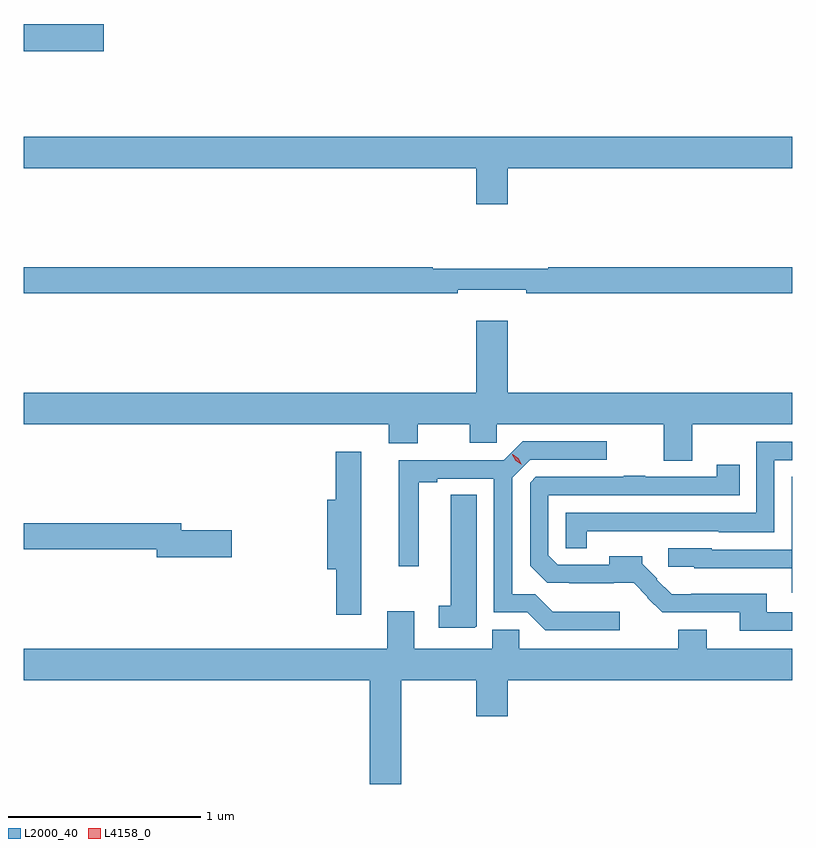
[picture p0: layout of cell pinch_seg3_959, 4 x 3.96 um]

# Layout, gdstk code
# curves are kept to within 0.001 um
import gdstk
lib = gdstk.Library(unit=1e-6, precision=1e-09)
def R(c, l, rs):  # rectangles x0, y0, x1, y1
    for r in rs: c.add(gdstk.rectangle(r[:2], r[2:], *l))
def P(c, l, *ps):  # polygons
    for p in ps: c.add(gdstk.Polygon(p, *l))
L2000_40 = (2000, 40)
L4158_0 = (4158, 0)

pinch_seg3_959 = lib.new_cell('pinch_seg3_959')
R(pinch_seg3_959, L2000_40, [(474.341,718.84,474.757,718.982)])
P(pinch_seg3_959, L2000_40, [(476.86,718.232),(478.341,718.232),(478.341,718.396),(474.341,718.396),(474.341,718.232),(476.696,718.232),(476.696,718.044),(476.86,718.044)],
  [(476.6,717.599),(476.956,717.599),(476.956,717.58),(478.341,717.58),(478.341,717.716),(477.071,717.716),(477.071,717.709),(476.471,717.709),(476.471,717.716),(474.341,717.716),(474.341,717.58),(476.6,717.58)],
  [(477.819,716.9),(478.341,716.9),(478.341,717.064),(476.86,717.064),(476.86,717.439),(476.696,717.439),(476.696,717.064),(474.341,717.064),(474.341,716.9),(476.24,716.9),(476.24,716.801),(476.392,716.801),(476.392,716.9),(476.663,716.9),(476.663,716.802),(476.802,716.802),(476.802,716.9),(477.671,716.9),(477.671,716.71),(477.819,716.71)],
  [(477.442,715.924),(477.095,715.924),(477.004,716.015),(476.883,716.015),(476.883,716.622),(476.976,716.715),(477.376,716.715),(477.376,716.811),(476.939,716.811),(476.84,716.712),(476.294,716.712),(476.294,716.16),(476.398,716.16),(476.398,716.596),(476.494,716.596),(476.494,716.616),(476.787,716.616),(476.787,715.92),(476.961,715.92),(477.054,715.827),(477.442,715.827)],
  [(477.271,716.342),(477.525,716.342),(477.525,716.343),(477.957,716.343),(477.957,716.336),(478.248,716.336),(478.248,716.712),(478.341,716.712),(478.341,716.808),(478.152,716.808),(478.152,716.439),(477.162,716.439),(477.162,716.254),(477.271,716.254)],
  [(476.098,716.755),(475.964,716.755),(475.964,716.506),(475.922,716.506),(475.922,716.144),(475.967,716.144),(475.967,715.908),(476.098,715.908)],
  [(478.341,715.92),(478.207,715.92),(478.207,716.017),(477.814,716.017),(477.814,716.015),(477.713,716.015),(477.636,716.091),(477.639,716.094),(477.56,716.173),(477.56,716.212),(477.389,716.212),(477.389,716.169),(477.12,716.169),(477.072,716.217),(477.072,716.529),(478.067,716.529),(478.067,716.689),(477.949,716.689),(477.949,716.625),(477.575,716.625),(477.575,716.63),(477.463,716.63),(477.463,716.625),(477.006,716.625),(476.976,716.595),(476.976,716.163),(477.065,716.074),(477.181,716.074),(477.181,716.072),(477.515,716.073),(477.589,715.999),(477.587,715.997),(477.663,715.92),(478.067,715.92),(478.067,715.824),(478.341,715.824)],
  [(478.341,716.627),(478.338,716.627),(478.338,716.247),(477.921,716.247),(477.921,716.253),(477.696,716.253),(477.696,716.157),(477.831,716.157),(477.831,716.15),(478.337,716.15),(478.337,716.021),(478.341,716.021)],
  [(476.698,715.849),(476.698,716.531),(476.564,716.531),(476.564,715.955),(476.502,715.955),(476.502,715.839),(476.688,715.839)],
  [(475.423,716.348),(475.162,716.348),(475.162,716.384),(474.341,716.384),(474.341,716.248),(475.034,716.248),(475.034,716.206),(475.423,716.206)],
  [(476.305,715.568),(476.696,715.568),(476.696,715.38),(476.86,715.38),(476.86,715.568),(478.341,715.568),(478.341,715.732),(477.895,715.732),(477.895,715.831),(477.748,715.831),(477.748,715.732),(476.919,715.732),(476.919,715.83),(476.78,715.83),(476.78,715.732),(476.374,715.732),(476.374,715.927),(476.234,715.927),(476.234,715.732),(474.341,715.732),(474.341,715.568),(476.141,715.568),(476.141,715.027),(476.305,715.027)])
P(pinch_seg3_959, L4158_0, [(476.932,716.688),(476.901,716.708),(476.884,716.741),(476.884,716.742),(476.885,716.742),(476.916,716.721),(476.933,716.688),(476.933,716.688)])

lib.write_gds('pinch_seg3_959.gds')
